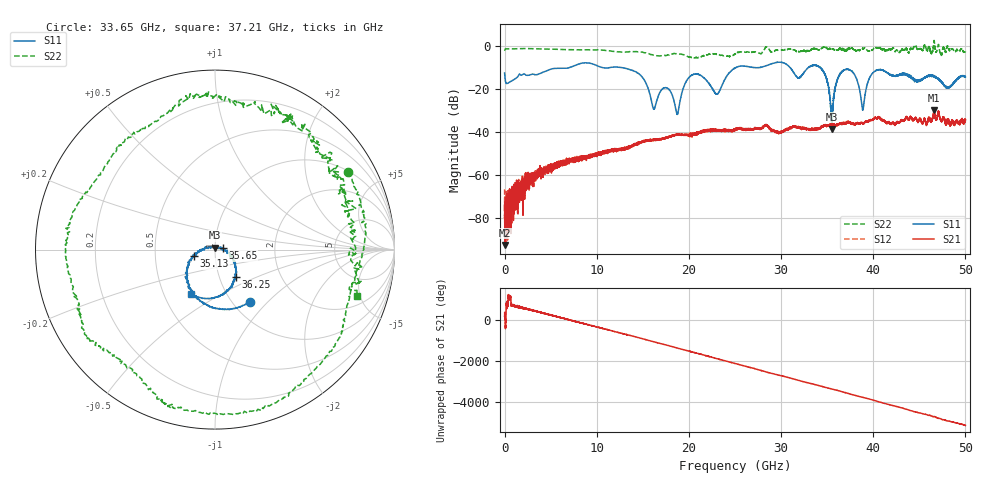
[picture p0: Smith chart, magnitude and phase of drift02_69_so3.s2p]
!Created with skrf (http://scikit-rf.org).
# Hz S RI R 50.0
!freq ReS11 ImS11 ReS21 ImS21 ReS12 ImS12 ReS22 ImS22
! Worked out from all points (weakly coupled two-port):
!   10001 points, 300 kHz to 50 GHz, reference 50 ohm
!   highest |S21| = -29.93 dB at 46.6 GHz (marker M1); lowest = -92.8 dB at 75.3 MHz (marker M2)
!   lowest |S11| = -38.7 dB at 35.49 GHz (marker M3), VSWR 1.02, Z = 49.8 + j1.15 ohm
!   |S11| at or under -10 dB: start of sweep to 7.178 GHz; 12.35 GHz to 25.18 GHz (12.83 GHz wide, 68.4 % of centre); 34.2 GHz to end of sweep (the widest 3 of 14)
!   |S22| runs from -5.7 to 2.4 dB; largest |S21 - S12| = 0.0031
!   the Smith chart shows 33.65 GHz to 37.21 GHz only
!   S11 on the Smith chart (normalised r, x): 33.65 GHz: 1.19, -0.79; 35.13 GHz: 0.79, -0.06; 35.65 GHz: 1.09, +0.02; 36.25 GHz: 1.20, -0.38; 37.21 GHz: 0.68, -0.37
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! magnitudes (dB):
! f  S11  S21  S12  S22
! 300 kHz  -12.7  -74.9  -66.8  -2.0
! 75.3 MHz  -16.1  -92.8  -73.4  -1.5
! 8.335 GHz  -8.2  -52.0  -51.6  -1.9
! 14.03 GHz  -11.8  -46.2  -46.0  -2.8
! 16.67 GHz  -23.4  -43.7  -43.7  -4.7
! 17.72 GHz  -19.9  -42.5  -42.6  -4.3
! 18.74 GHz  -32.0  -41.5  -41.4  -3.7
! 20.23 GHz  -13.9  -41.3  -41.8  -5.4
! 23.05 GHz  -22.5  -39.6  -39.2  -4.1
! 25 GHz  -10.3  -39.2  -39.0  -3.9
! 33.34 GHz  -9.3  -38.8  -38.7  -1.6
! 33.65 GHz  -9.1  -38.9  -38.7  -1.4
! 35.13 GHz  -18.4  -37.2  -37.2  -1.7
! 35.49 GHz  -38.7  -37.0  -36.7  -1.7
! 35.65 GHz  -27.0  -36.9  -36.7  -1.6
! 36.25 GHz  -14.3  -36.6  -36.6  -1.9
! 37.21 GHz  -11.0  -35.4  -35.6  -1.6
! 38.86 GHz  -29.9  -36.2  -36.0  -1.4
! 39.93 GHz  -12.8  -34.4  -34.6  -2.0
! 41.67 GHz  -13.0  -35.8  -35.3  -1.9
! 46.6 GHz  -14.5  -29.9  -29.9  2.1
! 50 GHz  -14.5  -34.6  -34.4  -2.7
